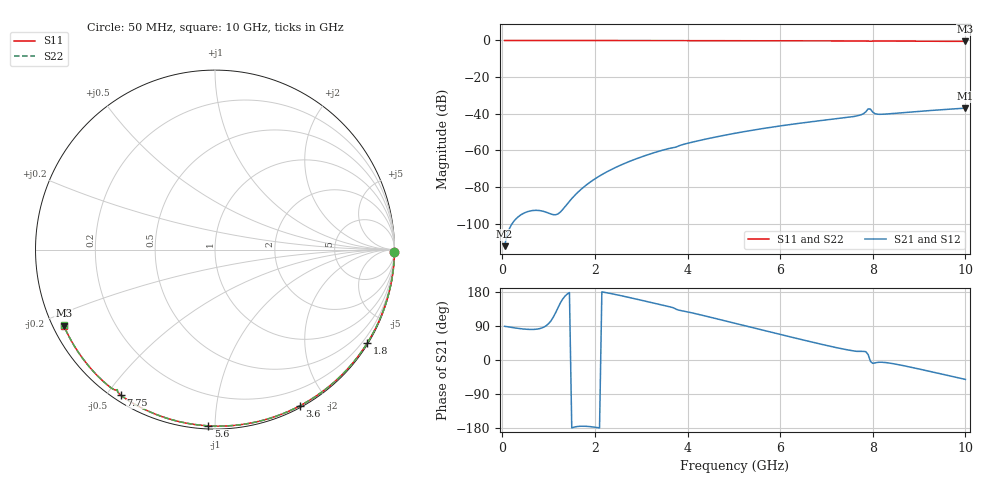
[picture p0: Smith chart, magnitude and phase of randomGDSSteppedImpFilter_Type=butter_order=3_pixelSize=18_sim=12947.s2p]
! freq	dB(S11)	phase(S11)	dB(S12)	phase(S12)
!  dB(S21)	phase(S21)	dB(S22)	phase(S22)
!S-par simulation data
#  GHz  S  DB  R 50
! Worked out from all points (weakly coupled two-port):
!   200 points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, 50 MHz to 10 GHz, reference 50 ohm
!   highest |S21| = -36.93 dB at 10 GHz (marker M1); lowest = -112.2 dB at 50 MHz (marker M2)
!   lowest |S11| = -0.5 dB at 10 GHz (marker M3), VSWR 34.03, Z = 1.55 - j11.8 ohm
!   |S11| at or under -10 dB: nowhere
!   |S22| runs from -0.5 to 0.0 dB; largest |S21 - S12| = 0
!   S11 on the Smith chart (normalised r, x): 50 MHz: open; 1.8 GHz: 0.03, -3.54; 3.6 GHz: 0.02, -1.68; 5.6 GHz: 0.02, -0.96; 7.75 GHz: 0.02, -0.54; 10 GHz: 0.03, -0.24
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0.05  -0.00 -0.9  -112.24 89.0  -112.24 89.0  -0.00 -0.9
0.85  -0.02 -15.1  -93.01 84.4  -93.01 84.4  -0.02 -15.1
1.75  -0.04 -30.7  -80.17 -174.7  -80.17 -174.7  -0.04 -30.7
1.8  -0.04 -31.6  -79.14 -174.9  -79.14 -174.9  -0.04 -31.6
2.1  -0.05 -36.7  -73.95 -179.2  -73.95 -179.2  -0.05 -36.7
2.45  -0.05 -42.6  -69.25 172.7  -69.25 172.7  -0.05 -42.6
2.9  -0.07 -50.1  -64.50 160.6  -64.50 160.6  -0.07 -50.1
3.4  -0.08 -58.3  -60.31 146.4  -60.31 146.4  -0.08 -58.3
3.6  -0.08 -61.5  -58.95 140.9  -58.95 140.9  -0.08 -61.5
4.2  -0.10 -71.0  -54.91 121.5  -54.91 121.5  -0.10 -71.0
5.05  -0.13 -84.0  -50.53 96.1  -50.53 96.1  -0.13 -84.0
5.6  -0.15 -92.2  -48.17 79.6  -48.17 79.6  -0.15 -92.2
6.7  -0.21 -108.0  -44.27 46.9  -44.27 46.9  -0.21 -108.0
7.55  -0.27 -120.0  -41.65 24.7  -41.65 24.7  -0.27 -120.0
7.75  -0.30 -122.9  -40.52 22.7  -40.52 22.7  -0.30 -122.9
7.85  -0.35 -124.4  -38.91 21.9  -38.91 21.9  -0.35 -124.4
7.9  -0.43 -124.9  -37.30 14.3  -37.30 14.3  -0.43 -124.9
7.95  -0.42 -124.8  -37.47 -3.7  -37.47 -3.7  -0.41 -124.9
8  -0.35 -125.5  -39.15 -8.9  -39.15 -8.9  -0.35 -125.5
8.05  -0.33 -126.3  -39.97 -7.6  -39.97 -7.6  -0.33 -126.3
8.35  -0.33 -130.7  -40.03 -7.9  -40.03 -7.9  -0.33 -130.7
10  -0.51 -153.4  -36.93 -51.2  -36.93 -51.2  -0.51 -153.4
